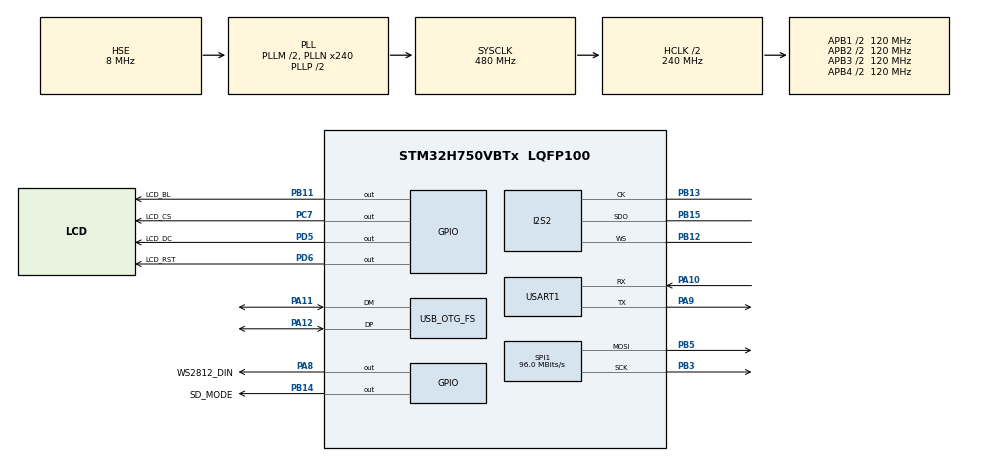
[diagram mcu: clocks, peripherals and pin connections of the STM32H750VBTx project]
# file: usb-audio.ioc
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CORTEX_M7.default_mode_Activation=1
Dma.Request0=SPI2_TX
Dma.Request1=SPI1_TX
Dma.SPI1_TX.1.Direction=DMA_MEMORY_TO_PERIPH
Dma.SPI1_TX.1.EventEnable=DISABLE
Dma.SPI1_TX.1.FIFOMode=DMA_FIFOMODE_ENABLE
Dma.SPI1_TX.1.FIFOThreshold=DMA_FIFO_THRESHOLD_FULL
Dma.SPI1_TX.1.Instance=DMA1_Stream1
Dma.SPI1_TX.1.MemBurst=DMA_MBURST_SINGLE
Dma.SPI1_TX.1.MemDataAlignment=DMA_MDATAALIGN_BYTE
Dma.SPI1_TX.1.MemInc=DMA_MINC_ENABLE
Dma.SPI1_TX.1.Mode=DMA_NORMAL
Dma.SPI1_TX.1.PeriphBurst=DMA_PBURST_SINGLE
Dma.SPI1_TX.1.PeriphDataAlignment=DMA_PDATAALIGN_BYTE
Dma.SPI1_TX.1.PeriphInc=DMA_PINC_DISABLE
Dma.SPI1_TX.1.Polarity=HAL_DMAMUX_REQ_GEN_RISING
Dma.SPI1_TX.1.Priority=DMA_PRIORITY_LOW
Dma.SPI1_TX.1.RequestNumber=1
Dma.SPI1_TX.1.SignalID=NONE
Dma.SPI1_TX.1.SyncEnable=DISABLE
Dma.SPI1_TX.1.SyncPolarity=HAL_DMAMUX_SYNC_NO_EVENT
Dma.SPI1_TX.1.SyncRequestNumber=1
Dma.SPI1_TX.1.SyncSignalID=NONE
Dma.SPI2_TX.0.Direction=DMA_MEMORY_TO_PERIPH
Dma.SPI2_TX.0.EventEnable=DISABLE
Dma.SPI2_TX.0.FIFOMode=DMA_FIFOMODE_ENABLE
Dma.SPI2_TX.0.FIFOThreshold=DMA_FIFO_THRESHOLD_FULL
Dma.SPI2_TX.0.Instance=DMA1_Stream0
Dma.SPI2_TX.0.MemBurst=DMA_MBURST_SINGLE
Dma.SPI2_TX.0.MemDataAlignment=DMA_MDATAALIGN_HALFWORD
Dma.SPI2_TX.0.MemInc=DMA_MINC_ENABLE
Dma.SPI2_TX.0.Mode=DMA_CIRCULAR
Dma.SPI2_TX.0.PeriphBurst=DMA_PBURST_SINGLE
Dma.SPI2_TX.0.PeriphDataAlignment=DMA_PDATAALIGN_HALFWORD
Dma.SPI2_TX.0.PeriphInc=DMA_PINC_DISABLE
Dma.SPI2_TX.0.Polarity=HAL_DMAMUX_REQ_GEN_RISING
Dma.SPI2_TX.0.Priority=DMA_PRIORITY_VERY_HIGH
Dma.SPI2_TX.0.RequestNumber=1
Dma.SPI2_TX.0.SignalID=NONE
Dma.SPI2_TX.0.SyncEnable=DISABLE
Dma.SPI2_TX.0.SyncPolarity=HAL_DMAMUX_SYNC_NO_EVENT
Dma.SPI2_TX.0.SyncRequestNumber=1
Dma.SPI2_TX.0.SyncSignalID=NONE
I2S2.AudioFreq=I2S_AUDIOFREQ_48K
I2S2.Data24BitAlignment=I2S_DATA_24BIT_ALIGNMENT_LEFT
I2S2.ErrorAudioFreq=0.0 %
I2S2.Instance=SPI$Index
I2S2.RealAudioFreq=48.0 KHz
Mcu.Family=STM32H7
Mcu.Name=STM32H750VBTx
Mcu.Package=LQFP100
NVIC.DMA1_Stream0_IRQn=true\:0\:0\:false\:false\:true\:false\:true\:true
NVIC.DMA1_Stream1_IRQn=true\:0\:0\:false\:false\:true\:false\:true\:true
NVIC.OTG_FS_IRQn=true\:0\:0\:false\:false\:true\:true\:true\:true
NVIC.PriorityGroup=NVIC_PRIORITYGROUP_4
NVIC.SPI1_IRQn=true\:0\:0\:false\:false\:true\:false\:true\:true
PA10.Mode=Asynchronous
PA10.Signal=USART1_RX
PA11.Mode=Device_Only
PA11.Signal=USB_OTG_FS_DM
PA12.Mode=Device_Only
PA12.Signal=USB_OTG_FS_DP
PA13\ (JTMS/SWDIO).Mode=Serial_Wire
PA13\ (JTMS/SWDIO).Signal=DEBUG_JTMS-SWDIO
PA14\ (JTCK/SWCLK).Mode=Serial_Wire
PA14\ (JTCK/SWCLK).Signal=DEBUG_JTCK-SWCLK
PA8.GPIO_Label=WS2812_DIN
PA8.Signal=GPIO_Output
PA9.Mode=Asynchronous
PA9.Signal=USART1_TX
PB11.GPIO_Label=LCD_BL
PB11.GPIO_Speed=GPIO_SPEED_FREQ_MEDIUM
PB11.PinState=GPIO_PIN_SET
PB11.Signal=GPIO_Output
PB12.GPIO_Speed=GPIO_SPEED_FREQ_MEDIUM
PB12.Mode=Half_Duplex_Master_Tx
PB12.Signal=I2S2_WS
PB13.GPIO_Speed=GPIO_SPEED_FREQ_MEDIUM
PB13.Mode=Half_Duplex_Master_Tx
PB13.Signal=I2S2_CK
PB14.GPIO_Label=SD_MODE
PB14.Signal=GPIO_Output
PB15.GPIO_Speed=GPIO_SPEED_FREQ_MEDIUM
PB15.Mode=Half_Duplex_Master_Tx
PB15.Signal=I2S2_SDO
PB3\ (JTDO/TRACESWO).GPIO_Speed=GPIO_SPEED_FREQ_VERY_HIGH
PB3\ (JTDO/TRACESWO).Mode=TX_Only_Simplex_Unidirect_Master
PB3\ (JTDO/TRACESWO).Signal=SPI1_SCK
PB5.GPIO_Speed=GPIO_SPEED_FREQ_VERY_HIGH
PB5.Mode=TX_Only_Simplex_Unidirect_Master
PB5.Signal=SPI1_MOSI
PC7.GPIO_Label=LCD_CS
PC7.GPIO_Speed=GPIO_SPEED_FREQ_MEDIUM
PC7.PinState=GPIO_PIN_SET
PC7.Signal=GPIO_Output
PD5.GPIO_Label=LCD_DC
PD5.GPIO_Speed=GPIO_SPEED_FREQ_MEDIUM
PD5.PinState=GPIO_PIN_SET
PD5.Signal=GPIO_Output
PD6.GPIO_Label=LCD_RST
PD6.GPIO_Speed=GPIO_SPEED_FREQ_LOW
PD6.PinState=GPIO_PIN_SET
PD6.Signal=GPIO_Output
PH0-OSC_IN\ (PH0).Mode=HSE-External-Oscillator
PH0-OSC_IN\ (PH0).Signal=RCC_OSC_IN
PH1-OSC_OUT\ (PH1).Mode=HSE-External-Oscillator
PH1-OSC_OUT\ (PH1).Signal=RCC_OSC_OUT
ProjectManager.HeapSize=0x200
ProjectManager.StackSize=0x400
ProjectManager.TargetToolchain=CMake
RCC.ADCFreq_Value=192000000
RCC.APB1Freq_Value=120000000
RCC.APB2Freq_Value=120000000
RCC.APB3Freq_Value=120000000
RCC.APB4Freq_Value=120000000
RCC.CortexFreq_Value=480000000
RCC.D1PPRE=RCC_APB3_DIV2
RCC.D2PPRE1=RCC_APB1_DIV2
RCC.D2PPRE2=RCC_APB2_DIV2
RCC.D3PPRE=RCC_APB4_DIV2
RCC.DIVM1=2
RCC.DIVM2=2
RCC.DIVN1=240
RCC.DIVN2=192
RCC.DIVP2=4
RCC.DIVQ1=20
RCC.HCLKFreq_Value=240000000
RCC.HPRE=RCC_HCLK_DIV2
RCC.HSE_VALUE=8000000
RCC.PLLSourceVirtual=RCC_PLLSOURCE_HSE
RCC.PWR_Regulator_Voltage_Scale=PWR_REGULATOR_VOLTAGE_SCALE0
RCC.SPI123CLockSelection=RCC_SPI123CLKSOURCE_PLL2
RCC.SYSCLKFreq_VALUE=480000000
RCC.SYSCLKSource=RCC_SYSCLKSOURCE_PLLCLK
RCC.USBFreq_Value=48000000
SPI1.BaudRatePrescaler=SPI_BAUDRATEPRESCALER_2
SPI1.CalculateBaudRate=96.0 MBits/s
SPI1.DataSize=SPI_DATASIZE_8BIT
SPI1.Direction=SPI_DIRECTION_2LINES_TXONLY
SPI1.Mode=SPI_MODE_MASTER
SPI1.VirtualType=VM_MASTER
USART1.VirtualMode-Asynchronous=VM_ASYNC
USB_OTG_FS.Sof_enable=ENABLE
USB_OTG_FS.VirtualMode=Device_Only
USB_OTG_FS.dma_enable=DISABLE
VP_MEMORYMAP_VS_MEMORYMAP.Mode=CurAppReg
board=custom

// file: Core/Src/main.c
/* USER CODE BEGIN Header */
/**
  ******************************************************************************
  * @file           : main.c
  * @brief          : Main program body
  ******************************************************************************
  * @attention
  *
  * Copyright (c) 2025 STMicroelectronics.
  * All rights reserved.
  *
  * This software is licensed under terms that can be found in the LICENSE file
  * in the root directory of this software component.
  * If no LICENSE file comes with this software, it is provided AS-IS.
  *
  ******************************************************************************
  */
/* USER CODE END Header */
#include "main.h"

/* USER CODE BEGIN Includes */
#include <stdio.h>
#include <string.h>
#include "usbd_core.h"
/* USER CODE END Includes */

I2S_HandleTypeDef hi2s2;
DMA_HandleTypeDef hdma_spi2_tx;

SPI_HandleTypeDef hspi1;
DMA_HandleTypeDef hdma_spi1_tx;

UART_HandleTypeDef huart1;

PCD_HandleTypeDef hpcd_USB_OTG_FS;

/* USER CODE BEGIN PV */
USB_DeviceHandleTypeDef hdev;
/* USER CODE END PV */

void SystemClock_Config(void);
void PeriphCommonClock_Config(void);
static void MPU_Config(void);
static void MX_GPIO_Init(void);
static void MX_DMA_Init(void);
static void MX_I2S2_Init(void);
static void MX_SPI1_Init(void);
static void MX_USART1_UART_Init(void);
static void MX_USB_OTG_FS_PCD_Init(void);

/* USER CODE BEGIN 0 */
int __io_getchar(void) {
  return EOF;
}

int __io_putchar(int ch) {
  HAL_UART_Transmit(&huart1, (uint8_t*)(&ch), 1, HAL_MAX_DELAY);
  return 1;
}
/* USER CODE END 0 */

int main(void)
{

  /* MPU Configuration--------------------------------------------------------*/
  MPU_Config();

  /* MCU Configuration--------------------------------------------------------*/

  /* Reset of all peripherals, Initializes the Flash interface and the Systick. */
  HAL_Init();

  /* Configure the system clock */
  SystemClock_Config();

  /* Configure the peripherals common clocks */
  PeriphCommonClock_Config();

  /* Initialize all configured peripherals */
  MX_GPIO_Init();
  MX_DMA_Init();
  MX_I2S2_Init();
  MX_SPI1_Init();
  MX_USART1_UART_Init();
  MX_USB_OTG_FS_PCD_Init();
  /* USER CODE BEGIN 2 */

  hpcd_USB_OTG_FS.pData = &hdev;

  HAL_PCDEx_SetRxFiFo(&hpcd_USB_OTG_FS, 0x200);
  HAL_PCDEx_SetTxFiFo(&hpcd_USB_OTG_FS, 0, 0x40);
  HAL_PCDEx_SetTxFiFo(&hpcd_USB_OTG_FS, 1, 0x40);

  if (HAL_PCD_Start(&hpcd_USB_OTG_FS) != HAL_OK) {
    Error_Handler();
  }

  /* USER CODE END 2 */

  /* Infinite loop */
  while (1)
  {

  }
}

void SystemClock_Config(void)
{
  RCC_OscInitTypeDef RCC_OscInitStruct = {0};
  RCC_ClkInitTypeDef RCC_ClkInitStruct = {0};

  /** Supply configuration update enable
  */
  HAL_PWREx_ConfigSupply(PWR_LDO_SUPPLY);

  /** Configure the main internal regulator output voltage
  */
  __HAL_PWR_VOLTAGESCALING_CONFIG(PWR_REGULATOR_VOLTAGE_SCALE0);

  while(!__HAL_PWR_GET_FLAG(PWR_FLAG_VOSRDY)) {}

  /** Initializes the RCC Oscillators according to the specified parameters
  * in the RCC_OscInitTypeDef structure.
  */
  RCC_OscInitStruct.OscillatorType = RCC_OSCILLATORTYPE_HSE;
  RCC_OscInitStruct.HSEState = RCC_HSE_ON;
  RCC_OscInitStruct.PLL.PLLState = RCC_PLL_ON;
  RCC_OscInitStruct.PLL.PLLSource = RCC_PLLSOURCE_HSE;
  RCC_OscInitStruct.PLL.PLLM = 2;
  RCC_OscInitStruct.PLL.PLLN = 240;
  RCC_OscInitStruct.PLL.PLLP = 2;
  RCC_OscInitStruct.PLL.PLLQ = 20;
  RCC_OscInitStruct.PLL.PLLR = 2;
  RCC_OscInitStruct.PLL.PLLRGE = RCC_PLL1VCIRANGE_2;
  RCC_OscInitStruct.PLL.PLLVCOSEL = RCC_PLL1VCOWIDE;
  RCC_OscInitStruct.PLL.PLLFRACN = 0;
  if (HAL_RCC_OscConfig(&RCC_OscInitStruct) != HAL_OK)
  {
    Error_Handler();
  }

  /** Initializes the CPU, AHB and APB buses clocks
  */
  RCC_ClkInitStruct.ClockType = RCC_CLOCKTYPE_HCLK|RCC_CLOCKTYPE_SYSCLK
                              |RCC_CLOCKTYPE_PCLK1|RCC_CLOCKTYPE_PCLK2
                              |RCC_CLOCKTYPE_D3PCLK1|RCC_CLOCKTYPE_D1PCLK1;
  RCC_ClkInitStruct.SYSCLKSource = RCC_SYSCLKSOURCE_PLLCLK;
  RCC_ClkInitStruct.SYSCLKDivider = RCC_SYSCLK_DIV1;
  RCC_ClkInitStruct.AHBCLKDivider = RCC_HCLK_DIV2;
  RCC_ClkInitStruct.APB3CLKDivider = RCC_APB3_DIV2;
  RCC_ClkInitStruct.APB1CLKDivider = RCC_APB1_DIV2;
  RCC_ClkInitStruct.APB2CLKDivider = RCC_APB2_DIV2;
  RCC_ClkInitStruct.APB4CLKDivider = RCC_APB4_DIV2;

  if (HAL_RCC_ClockConfig(&RCC_ClkInitStruct, FLASH_LATENCY_4) != HAL_OK)
  {
    Error_Handler();
  }
}

void PeriphCommonClock_Config(void)
{
  RCC_PeriphCLKInitTypeDef PeriphClkInitStruct = {0};

  /** Initializes the peripherals clock
  */
  PeriphClkInitStruct.PeriphClockSelection = RCC_PERIPHCLK_SPI2|RCC_PERIPHCLK_SPI1;
  PeriphClkInitStruct.PLL2.PLL2M = 2;
  PeriphClkInitStruct.PLL2.PLL2N = 192;
  PeriphClkInitStruct.PLL2.PLL2P = 4;
  PeriphClkInitStruct.PLL2.PLL2Q = 2;
  PeriphClkInitStruct.PLL2.PLL2R = 2;
  PeriphClkInitStruct.PLL2.PLL2RGE = RCC_PLL2VCIRANGE_2;
  PeriphClkInitStruct.PLL2.PLL2VCOSEL = RCC_PLL2VCOWIDE;
  PeriphClkInitStruct.PLL2.PLL2FRACN = 0;
  PeriphClkInitStruct.Spi123ClockSelection = RCC_SPI123CLKSOURCE_PLL2;
  if (HAL_RCCEx_PeriphCLKConfig(&PeriphClkInitStruct) != HAL_OK)
  {
    Error_Handler();
  }
}

static void MX_I2S2_Init(void)
{

  hi2s2.Instance = SPI2;
  hi2s2.Init.Mode = I2S_MODE_MASTER_TX;
  hi2s2.Init.Standard = I2S_STANDARD_PHILIPS;
  hi2s2.Init.DataFormat = I2S_DATAFORMAT_16B;
  hi2s2.Init.MCLKOutput = I2S_MCLKOUTPUT_DISABLE;
  hi2s2.Init.AudioFreq = I2S_AUDIOFREQ_48K;
  hi2s2.Init.CPOL = I2S_CPOL_LOW;
  hi2s2.Init.FirstBit = I2S_FIRSTBIT_MSB;
  hi2s2.Init.WSInversion = I2S_WS_INVERSION_DISABLE;
  hi2s2.Init.Data24BitAlignment = I2S_DATA_24BIT_ALIGNMENT_LEFT;
  hi2s2.Init.MasterKeepIOState = I2S_MASTER_KEEP_IO_STATE_DISABLE;
  if (HAL_I2S_Init(&hi2s2) != HAL_OK)
  {
    Error_Handler();
  }

}

static void MX_SPI1_Init(void)
{

  /* SPI1 parameter configuration*/
  hspi1.Instance = SPI1;
  hspi1.Init.Mode = SPI_MODE_MASTER;
  hspi1.Init.Direction = SPI_DIRECTION_2LINES_TXONLY;
  hspi1.Init.DataSize = SPI_DATASIZE_8BIT;
  hspi1.Init.CLKPolarity = SPI_POLARITY_LOW;
  hspi1.Init.CLKPhase = SPI_PHASE_1EDGE;
  hspi1.Init.NSS = SPI_NSS_SOFT;
  hspi1.Init.BaudRatePrescaler = SPI_BAUDRATEPRESCALER_2;
  hspi1.Init.FirstBit = SPI_FIRSTBIT_MSB;
  hspi1.Init.TIMode = SPI_TIMODE_DISABLE;
  hspi1.Init.CRCCalculation = SPI_CRCCALCULATION_DISABLE;
  hspi1.Init.CRCPolynomial = 0x0;
  hspi1.Init.NSSPMode = SPI_NSS_PULSE_ENABLE;
  hspi1.Init.NSSPolarity = SPI_NSS_POLARITY_LOW;
  hspi1.Init.FifoThreshold = SPI_FIFO_THRESHOLD_01DATA;
  hspi1.Init.TxCRCInitializationPattern = SPI_CRC_INITIALIZATION_ALL_ZERO_PATTERN;
  hspi1.Init.RxCRCInitializationPattern = SPI_CRC_INITIALIZATION_ALL_ZERO_PATTERN;
  hspi1.Init.MasterSSIdleness = SPI_MASTER_SS_IDLENESS_00CYCLE;
  hspi1.Init.MasterInterDataIdleness = SPI_MASTER_INTERDATA_IDLENESS_00CYCLE;
  hspi1.Init.MasterReceiverAutoSusp = SPI_MASTER_RX_AUTOSUSP_DISABLE;
  hspi1.Init.MasterKeepIOState = SPI_MASTER_KEEP_IO_STATE_DISABLE;
  hspi1.Init.IOSwap = SPI_IO_SWAP_DISABLE;
  if (HAL_SPI_Init(&hspi1) != HAL_OK)
  {
    Error_Handler();
  }

}

static void MX_USART1_UART_Init(void)
{

  huart1.Instance = USART1;
  huart1.Init.BaudRate = 115200;
  huart1.Init.WordLength = UART_WORDLENGTH_8B;
  huart1.Init.StopBits = UART_STOPBITS_1;
  huart1.Init.Parity = UART_PARITY_NONE;
  huart1.Init.Mode = UART_MODE_TX_RX;
  huart1.Init.HwFlowCtl = UART_HWCONTROL_NONE;
  huart1.Init.OverSampling = UART_OVERSAMPLING_16;
  huart1.Init.OneBitSampling = UART_ONE_BIT_SAMPLE_DISABLE;
  huart1.Init.ClockPrescaler = UART_PRESCALER_DIV1;
  huart1.AdvancedInit.AdvFeatureInit = UART_ADVFEATURE_NO_INIT;
  if (HAL_UART_Init(&huart1) != HAL_OK)
  {
    Error_Handler();
  }
  if (HAL_UARTEx_SetTxFifoThreshold(&huart1, UART_TXFIFO_THRESHOLD_1_8) != HAL_OK)
  {
    Error_Handler();
  }
  if (HAL_UARTEx_SetRxFifoThreshold(&huart1, UART_RXFIFO_THRESHOLD_1_8) != HAL_OK)
  {
    Error_Handler();
  }
  if (HAL_UARTEx_DisableFifoMode(&huart1) != HAL_OK)
  {
    Error_Handler();
  }

}

static void MX_USB_OTG_FS_PCD_Init(void)
{

  hpcd_USB_OTG_FS.Instance = USB_OTG_FS;
  hpcd_USB_OTG_FS.Init.dev_endpoints = 9;
  hpcd_USB_OTG_FS.Init.speed = PCD_SPEED_FULL;
  hpcd_USB_OTG_FS.Init.dma_enable = DISABLE;
  hpcd_USB_OTG_FS.Init.phy_itface = PCD_PHY_EMBEDDED;
  hpcd_USB_OTG_FS.Init.Sof_enable = ENABLE;
  hpcd_USB_OTG_FS.Init.low_power_enable = DISABLE;
  hpcd_USB_OTG_FS.Init.lpm_enable = DISABLE;
  hpcd_USB_OTG_FS.Init.battery_charging_enable = DISABLE;
  hpcd_USB_OTG_FS.Init.vbus_sensing_enable = DISABLE;
  hpcd_USB_OTG_FS.Init.use_dedicated_ep1 = DISABLE;
  if (HAL_PCD_Init(&hpcd_USB_OTG_FS) != HAL_OK)
  {
    Error_Handler();
  }

}

static void MX_DMA_Init(void)
{

  /* DMA controller clock enable */
  __HAL_RCC_DMA1_CLK_ENABLE();

  /* DMA interrupt init */
  /* DMA1_Stream0_IRQn interrupt configuration */
  HAL_NVIC_SetPriority(DMA1_Stream0_IRQn, 0, 0);
  HAL_NVIC_EnableIRQ(DMA1_Stream0_IRQn);
  /* DMA1_Stream1_IRQn interrupt configuration */
  HAL_NVIC_SetPriority(DMA1_Stream1_IRQn, 0, 0);
  HAL_NVIC_EnableIRQ(DMA1_Stream1_IRQn);

}

static void MX_GPIO_Init(void)
{
  GPIO_InitTypeDef GPIO_InitStruct = {0};

  /* GPIO Ports Clock Enable */
  __HAL_RCC_GPIOH_CLK_ENABLE();
  __HAL_RCC_GPIOB_CLK_ENABLE();
  __HAL_RCC_GPIOC_CLK_ENABLE();
  __HAL_RCC_GPIOA_CLK_ENABLE();
  __HAL_RCC_GPIOD_CLK_ENABLE();

  /*Configure GPIO pin Output Level */
  HAL_GPIO_WritePin(LCD_BL_GPIO_Port, LCD_BL_Pin, GPIO_PIN_SET);

  /*Configure GPIO pin Output Level */
  HAL_GPIO_WritePin(SD_MODE_GPIO_Port, SD_MODE_Pin, GPIO_PIN_RESET);

  /*Configure GPIO pin Output Level */
  HAL_GPIO_WritePin(LCD_CS_GPIO_Port, LCD_CS_Pin, GPIO_PIN_SET);

  /*Configure GPIO pin Output Level */
  HAL_GPIO_WritePin(WS2812_DIN_GPIO_Port, WS2812_DIN_Pin, GPIO_PIN_RESET);

  /*Configure GPIO pin Output Level */
  HAL_GPIO_WritePin(GPIOD, LCD_DC_Pin|LCD_RST_Pin, GPIO_PIN_SET);

  /*Configure GPIO pin : LCD_BL_Pin */
  GPIO_InitStruct.Pin = LCD_BL_Pin;
  GPIO_InitStruct.Mode = GPIO_MODE_OUTPUT_PP;
  GPIO_InitStruct.Pull = GPIO_NOPULL;
  GPIO_InitStruct.Speed = GPIO_SPEED_FREQ_MEDIUM;
  HAL_GPIO_Init(LCD_BL_GPIO_Port, &GPIO_InitStruct);

  /*Configure GPIO pin : SD_MODE_Pin */
  GPIO_InitStruct.Pin = SD_MODE_Pin;
  GPIO_InitStruct.Mode = GPIO_MODE_OUTPUT_PP;
  GPIO_InitStruct.Pull = GPIO_NOPULL;
  GPIO_InitStruct.Speed = GPIO_SPEED_FREQ_LOW;
  HAL_GPIO_Init(SD_MODE_GPIO_Port, &GPIO_InitStruct);

  /*Configure GPIO pin : LCD_CS_Pin */
  GPIO_InitStruct.Pin = LCD_CS_Pin;
  GPIO_InitStruct.Mode = GPIO_MODE_OUTPUT_PP;
  GPIO_InitStruct.Pull = GPIO_NOPULL;
  GPIO_InitStruct.Speed = GPIO_SPEED_FREQ_MEDIUM;
  HAL_GPIO_Init(LCD_CS_GPIO_Port, &GPIO_InitStruct);

  /*Configure GPIO pin : WS2812_DIN_Pin */
  GPIO_InitStruct.Pin = WS2812_DIN_Pin;
  GPIO_InitStruct.Mode = GPIO_MODE_OUTPUT_PP;
  GPIO_InitStruct.Pull = GPIO_NOPULL;
  GPIO_InitStruct.Speed = GPIO_SPEED_FREQ_LOW;
  HAL_GPIO_Init(WS2812_DIN_GPIO_Port, &GPIO_InitStruct);

  /*Configure GPIO pin : LCD_DC_Pin */
  GPIO_InitStruct.Pin = LCD_DC_Pin;
  GPIO_InitStruct.Mode = GPIO_MODE_OUTPUT_PP;
  GPIO_InitStruct.Pull = GPIO_NOPULL;
  GPIO_InitStruct.Speed = GPIO_SPEED_FREQ_MEDIUM;
  HAL_GPIO_Init(LCD_DC_GPIO_Port, &GPIO_InitStruct);

  /*Configure GPIO pin : LCD_RST_Pin */
  GPIO_InitStruct.Pin = LCD_RST_Pin;
  GPIO_InitStruct.Mode = GPIO_MODE_OUTPUT_PP;
  GPIO_InitStruct.Pull = GPIO_NOPULL;
  GPIO_InitStruct.Speed = GPIO_SPEED_FREQ_LOW;
  HAL_GPIO_Init(LCD_RST_GPIO_Port, &GPIO_InitStruct);

}

 /* MPU Configuration */

void MPU_Config(void)
{
  MPU_Region_InitTypeDef MPU_InitStruct = {0};

  /* Disables the MPU */
  HAL_MPU_Disable();

  /** Initializes and configures the Region and the memory to be protected
  */
  MPU_InitStruct.Enable = MPU_REGION_ENABLE;
  MPU_InitStruct.Number = MPU_REGION_NUMBER0;
  MPU_InitStruct.BaseAddress = 0x0;
  MPU_InitStruct.Size = MPU_REGION_SIZE_4GB;
  MPU_InitStruct.SubRegionDisable = 0x87;
  MPU_InitStruct.TypeExtField = MPU_TEX_LEVEL0;
  MPU_InitStruct.AccessPermission = MPU_REGION_NO_ACCESS;
  MPU_InitStruct.DisableExec = MPU_INSTRUCTION_ACCESS_DISABLE;
  MPU_InitStruct.IsShareable = MPU_ACCESS_SHAREABLE;
  MPU_InitStruct.IsCacheable = MPU_ACCESS_NOT_CACHEABLE;
  MPU_InitStruct.IsBufferable = MPU_ACCESS_NOT_BUFFERABLE;

  HAL_MPU_ConfigRegion(&MPU_InitStruct);
  /* Enables the MPU */
  HAL_MPU_Enable(MPU_PRIVILEGED_DEFAULT);

}

void Error_Handler(void)
{
  __disable_irq();
  while (1)
  {
  }
}
